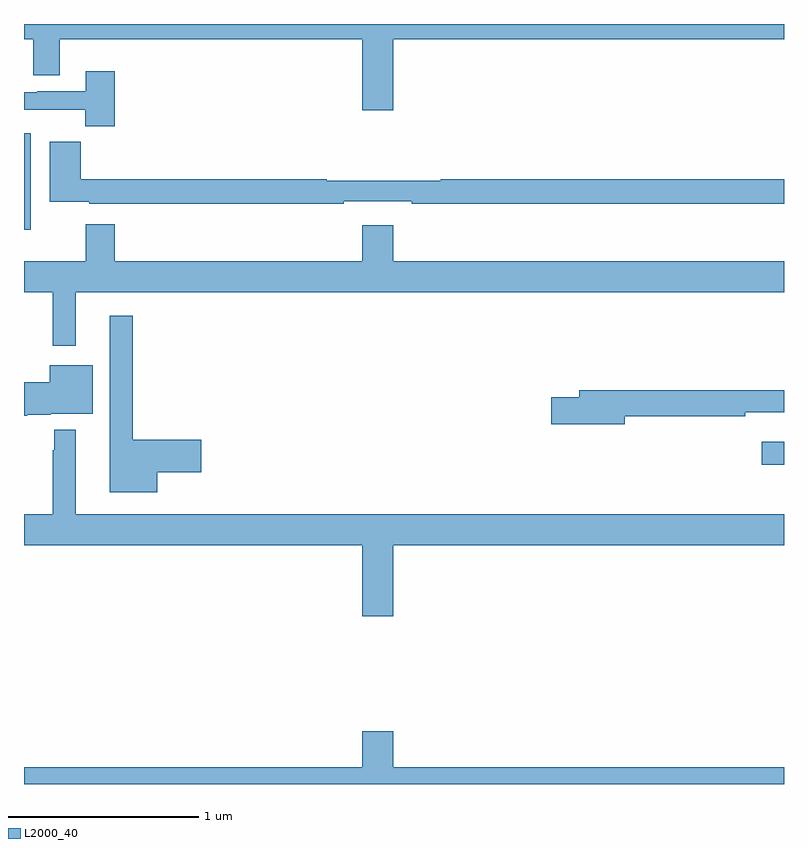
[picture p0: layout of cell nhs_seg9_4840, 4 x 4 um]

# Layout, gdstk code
import gdstk
lib = gdstk.Library(unit=1e-6, precision=1e-09)
def R(c, l, rs):  # rectangles x0, y0, x1, y1
    for r in rs: c.add(gdstk.rectangle(r[:2], r[2:], *l))
def P(c, l, *ps):  # polygons
    for p in ps: c.add(gdstk.Polygon(p, *l))
L2000_40 = (2000, 40)

nhs_seg9_4840 = lib.new_cell('nhs_seg9_4840')
R(nhs_seg9_4840, L2000_40, [(394.884,1194.179,395,1194.301), (391,1195.416,391.036,1195.924)])
P(nhs_seg9_4840, L2000_40, [(392.944,1196.42),(395,1196.42),(395,1196.5),(391,1196.5),(391,1196.42),(391.049,1196.42),(391.049,1196.23),(391.189,1196.23),(391.189,1196.42),(392.78,1196.42),(392.78,1196.046),(392.944,1196.046)],
  [(391.478,1196.251),(391.325,1196.251),(391.325,1196.145),(391.069,1196.145),(391.069,1196.142),(391,1196.142),(391,1196.048),(391.323,1196.048),(391.323,1195.961),(391.478,1195.961)],
  [(392.684,1195.566),(393.04,1195.566),(393.04,1195.554),(395,1195.554),(395,1195.682),(393.194,1195.682),(393.194,1195.675),(392.594,1195.675),(392.594,1195.682),(391.298,1195.682),(391.298,1195.879),(391.136,1195.879),(391.136,1195.565),(391.344,1195.565),(391.344,1195.554),(392.684,1195.554)],
  [(391.273,1195.088),(395,1195.088),(395,1195.252),(392.944,1195.252),(392.944,1195.441),(392.78,1195.441),(392.78,1195.252),(391.478,1195.252),(391.478,1195.447),(391.325,1195.447),(391.325,1195.252),(391,1195.252),(391,1195.088),(391.152,1195.088),(391.152,1194.807),(391.273,1194.807)],
  [(391.702,1194.14),(391.933,1194.14),(391.933,1194.311),(391.573,1194.311),(391.573,1194.964),(391.451,1194.964),(391.451,1194.035),(391.702,1194.035)],
  [(391.018,1194.443),(391.14,1194.443),(391.14,1194.449),(391.363,1194.449),(391.363,1194.703),(391.136,1194.703),(391.136,1194.615),(391,1194.615),(391,1194.437),(391.018,1194.437)],
  [(394.162,1194.436),(394.796,1194.436),(394.796,1194.456),(395,1194.456),(395,1194.572),(393.923,1194.572),(393.923,1194.536),(393.774,1194.536),(393.774,1194.394),(394.162,1194.394)],
  [(392.78,1193.382),(392.944,1193.382),(392.944,1193.756),(395,1193.756),(395,1193.92),(391.273,1193.92),(391.273,1194.364),(391.159,1194.364),(391.159,1194.257),(391.152,1194.257),(391.152,1193.92),(391,1193.92),(391,1193.756),(392.78,1193.756)],
  [(391,1192.5),(395,1192.5),(395,1192.588),(392.944,1192.588),(392.944,1192.777),(392.78,1192.777),(392.78,1192.588),(391,1192.588)])

lib.write_gds('nhs_seg9_4840.gds')
